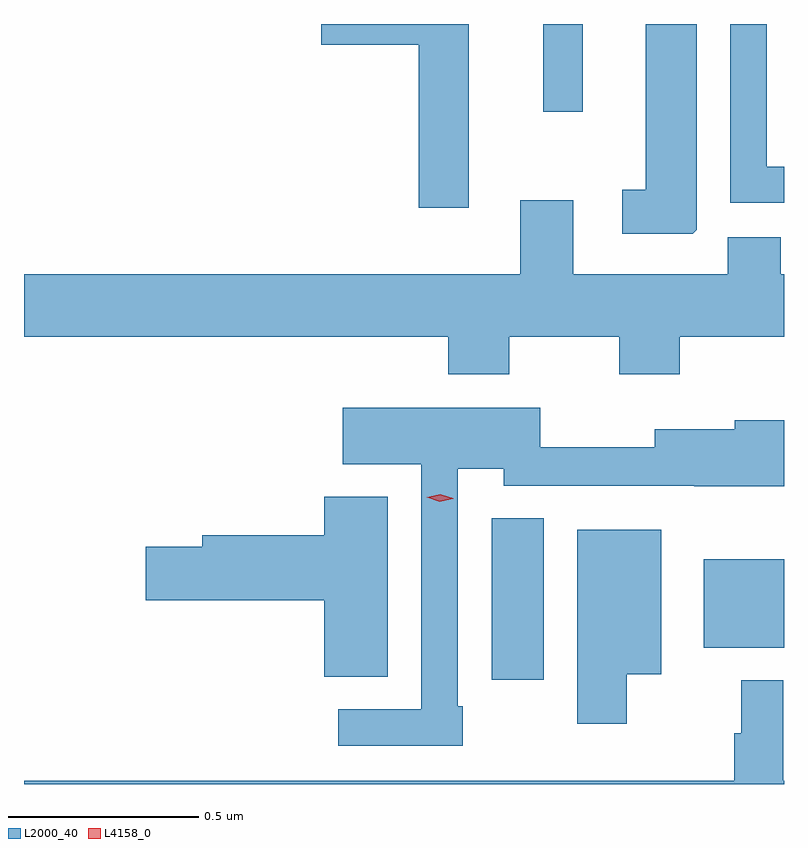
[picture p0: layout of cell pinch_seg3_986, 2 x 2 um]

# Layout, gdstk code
import gdstk
lib = gdstk.Library(unit=1e-6, precision=1e-09)
def R(c, l, rs):  # rectangles x0, y0, x1, y1
    for r in rs: c.add(gdstk.rectangle(r[:2], r[2:], *l))
def P(c, l, *ps):  # polygons
    for p in ps: c.add(gdstk.Polygon(p, *l))
L2000_40 = (2000, 40)
L4158_0 = (4158, 0)

pinch_seg3_986 = lib.new_cell('pinch_seg3_986')
R(pinch_seg3_986, L2000_40, [(458.177,719.994,458.314,720.419), (458.735,720.077,458.946,720.31), (458.312,721.488,458.416,721.719)])
P(pinch_seg3_986, L2000_40, [(458.946,721.343),(458.901,721.343),(458.901,721.719),(458.805,721.719),(458.805,721.248),(458.946,721.248)],
  [(458.116,721.719),(457.728,721.719),(457.728,721.664),(457.985,721.664),(457.985,721.236),(458.116,721.236)],
  [(458.716,721.177),(458.716,721.719),(458.582,721.719),(458.582,721.283),(458.52,721.283),(458.52,721.167),(458.706,721.167)],
  [(458.223,720.896),(458.512,720.896),(458.512,720.797),(458.672,720.797),(458.672,720.896),(458.946,720.896),(458.946,721.06),(458.937,721.06),(458.937,721.158),(458.798,721.158),(458.798,721.06),(458.392,721.06),(458.392,721.255),(458.252,721.255),(458.252,721.06),(456.946,721.06),(456.946,720.896),(458.063,720.896),(458.063,720.797),(458.223,720.797)],
  [(458.101,719.923),(458.088,719.923),(458.088,720.548),(458.208,720.548),(458.208,720.504),(458.71,720.504),(458.71,720.503),(458.946,720.503),(458.946,720.676),(458.817,720.676),(458.817,720.652),(458.606,720.652),(458.606,720.605),(458.304,720.605),(458.304,720.709),(457.785,720.709),(457.785,720.56),(457.992,720.56),(457.992,719.916),(457.773,719.916),(457.773,719.82),(458.101,719.82)],
  [(457.903,720.475),(457.736,720.475),(457.736,720.374),(457.415,720.374),(457.415,720.344),(457.266,720.344),(457.266,720.202),(457.736,720.202),(457.736,720.001),(457.903,720.001)],
  [(458.532,720.008),(458.623,720.008),(458.623,720.388),(458.402,720.388),(458.402,719.877),(458.532,719.877)],
  [(458.946,719.728),(458.944,719.728),(458.944,719.992),(458.834,719.992),(458.834,719.852),(458.815,719.852),(458.815,719.728),(456.946,719.728),(456.946,719.719),(458.946,719.719)])
P(pinch_seg3_986, L4158_0, [(458.04,720.462),(458.006,720.473),(458.006,720.473),(458.006,720.473),(458.041,720.482),(458.075,720.471),(458.076,720.47),(458.075,720.47)])

lib.write_gds('pinch_seg3_986.gds')
